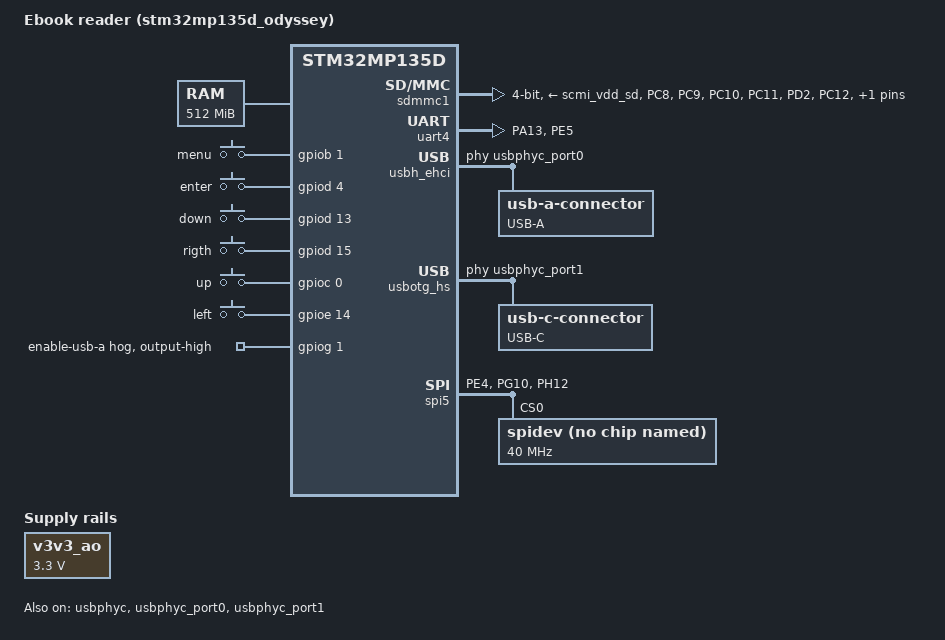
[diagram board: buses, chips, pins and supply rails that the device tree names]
// SPDX-License-Identifier: (GPL-2.0+ OR BSD-3-Clause)
/*
 * Copyright (C) 2026, STMicroelectronics - All Rights Reserved
 * Author: STM32CubeMX code generation for STMicroelectronics.
 */

/* For more information on Device Tree configuration, please refer to
 * https://wiki.st.com/stm32mpu/wiki/Category:Device_tree_configuration
 */

/dts-v1/;

#include <dt-bindings/pinctrl/stm32-pinfunc.h>
#include "stm32mp135.dtsi"
#include "stm32mp13xd.dtsi"

/* USER CODE BEGIN includes */
#include <dt-bindings/gpio/gpio.h>
#include <dt-bindings/input/input.h>
#include <dt-bindings/leds/common.h>
/* USER CODE END includes */

/ {
	model = "Ebook reader (stm32mp135d_odyssey)";
	compatible = "ebk,stm32mp135d-odyssey";

	memory@c0000000 {
		device_type = "memory";
		reg = <0xc0000000 0x20000000>;

		/* USER CODE BEGIN memory */
		/* USER CODE END memory */
	};

	reserved-memory {
		#address-cells = <1>;
		#size-cells = <1>;
		ranges;

		/* USER CODE BEGIN reserved-memory */
		optee@dd000000{
			reg = <0xdd000000 0x3000000>;
			no-map;
		};		
		/* USER CODE END reserved-memory */
	};

	/* USER CODE BEGIN root */
	aliases{
		serial0 = &uart4;
	};

	chosen{
		stdout-path = "serial0:115200n8";
		#address-cells = <1>;
		#size-cells = <1>;
		ranges;
	};

	v3v3_ao:v3v3-ao{
		compatible = "regulator-fixed";
		regulator-name = "v3v3_ao";
		regulator-min-microvolt = <3300000>;
		regulator-max-microvolt = <3300000>;
		regulator-always-on;
	};
	
	gpio_buttons: gpio-buttons-0 {
		compatible = "gpio-keys";
		poll-interval = <300>;		
		
		button_menu: button-menu { // PIN 7
			label = "menu";
			linux,code = <KEY_ESC>;
			gpios = <&gpiob 1 (GPIO_ACTIVE_HIGH | GPIO_PULL_DOWN)>;
		};
		
		button_enter: button-enter { // PIN 11
			label = "enter";
			linux,code = <KEY_ENTER>;
			gpios = <&gpiod 4 (GPIO_ACTIVE_HIGH | GPIO_PULL_DOWN)>;
		};
		
		button_down: button-down { // PIN 13
			label = "down";
			linux,code = <KEY_DOWN>;
			gpios = <&gpiod 13 (GPIO_ACTIVE_HIGH | GPIO_PULL_DOWN)>;
		};

		button_rigth: button-rigth { // PIN 10
			label = "rigth";
			linux,code = <KEY_RIGHT>;
			gpios = <&gpiod 15 (GPIO_ACTIVE_HIGH | GPIO_PULL_DOWN)>;
		};
		
		button_up: button-up {  // PIN 12
			label = "up";
			linux,code = <KEY_UP>;
			gpios = <&gpioc 0 (GPIO_ACTIVE_HIGH | GPIO_PULL_DOWN)>;
		};
		
		button_left: button-left { // PIN 16
			label = "left";
			linux,code = <KEY_LEFT>;
			gpios = <&gpioe 14 (GPIO_ACTIVE_HIGH | GPIO_PULL_DOWN)>;
		};		
	};
	
	/* USER CODE END root */
	
	clocks{
		clk_hsi: clk-hsi {
			clock-frequency = <64000000>;

			/* USER CODE BEGIN clk_hsi */
			/* USER CODE END clk_hsi */
		};
		clk_lse: clk-lse {
			status = "disabled";

			/* USER CODE BEGIN clk_lse */
			/* USER CODE END clk_lse */
		};
		clk_hse: clk-hse {
			clock-frequency = <24000000>;
			st,css;

			/* USER CODE BEGIN clk_hse */
			/* USER CODE END clk_hse */
		};
		clk_i2sin: clk-i2sin {
			status = "disabled";

			/* USER CODE BEGIN clk_i2sin */
			/* USER CODE END clk_i2sin */
		};

		/* USER CODE BEGIN clocks */
		/* USER CODE END clocks */
	};
	
}; /*root*/

&pinctrl {
	sdmmc1_pins_mx: sdmmc1_mx-0 {
		pins1 {
			pinmux = <STM32_PINMUX('C', 8, AF12)>, /* SDMMC1_D0 */
				 <STM32_PINMUX('C', 9, AF12)>, /* SDMMC1_D1 */
				 <STM32_PINMUX('C', 10, AF12)>, /* SDMMC1_D2 */
				 <STM32_PINMUX('C', 11, AF12)>, /* SDMMC1_D3 */
				 <STM32_PINMUX('D', 2, AF12)>; /* SDMMC1_CMD */
			bias-disable;
			drive-push-pull;
			slew-rate = <1>;
		};
		pins2 {
			pinmux = <STM32_PINMUX('C', 12, AF12)>; /* SDMMC1_CK */
			bias-disable;
			drive-push-pull;
			slew-rate = <3>;
		};
	};

	sdmmc1_opendrain_pins_mx: sdmmc1_opendrain_mx-0 {
		pins1 {
			pinmux = <STM32_PINMUX('C', 8, AF12)>, /* SDMMC1_D0 */
				 <STM32_PINMUX('C', 9, AF12)>, /* SDMMC1_D1 */
				 <STM32_PINMUX('C', 10, AF12)>, /* SDMMC1_D2 */
				 <STM32_PINMUX('C', 11, AF12)>; /* SDMMC1_D3 */
			bias-disable;
			drive-push-pull;
			slew-rate = <1>;
		};
		pins2 {
			pinmux = <STM32_PINMUX('C', 12, AF12)>; /* SDMMC1_CK */
			bias-disable;
			drive-push-pull;
			slew-rate = <3>;
		};
		pins3 {
			pinmux = <STM32_PINMUX('D', 2, AF12)>; /* SDMMC1_CMD */
			bias-disable;
			drive-open-drain;
			slew-rate = <1>;
		};
	};

	sdmmc1_sleep_pins_mx: sdmmc1_sleep_mx-0 {
		pins {
			pinmux = <STM32_PINMUX('C', 8, ANALOG)>, /* SDMMC1_D0 */
				 <STM32_PINMUX('C', 9, ANALOG)>, /* SDMMC1_D1 */
				 <STM32_PINMUX('C', 10, ANALOG)>, /* SDMMC1_D2 */
				 <STM32_PINMUX('C', 11, ANALOG)>, /* SDMMC1_D3 */
				 <STM32_PINMUX('C', 12, ANALOG)>, /* SDMMC1_CK */
				 <STM32_PINMUX('D', 2, ANALOG)>; /* SDMMC1_CMD */
		};
	};

	uart4_pins_mx: uart4_mx-0 {
		pins1 {
			pinmux = <STM32_PINMUX('A', 13, AF8)>; /* UART4_TX */
			bias-disable;
			drive-push-pull;
			slew-rate = <0>;
		};
		pins2 {
			pinmux = <STM32_PINMUX('E', 5, AF8)>; /* UART4_RX */
			bias-disable;
		};
	};

	uart4_idle_pins_mx: uart4_idle_mx-0 {
		pins1 {
			pinmux = <STM32_PINMUX('A', 13, AF8)>; /* UART4_TX */
			bias-disable;
			drive-push-pull;
			slew-rate = <0>;
		};
		pins2 {
			pinmux = <STM32_PINMUX('E', 5, AF8)>; /* UART4_RX */
			bias-disable;
		};
	};

	uart4_sleep_pins_mx: uart4_sleep_mx-0 {
		pins {
			pinmux = <STM32_PINMUX('A', 13, ANALOG)>, /* UART4_TX */
				 <STM32_PINMUX('E', 5, ANALOG)>; /* UART4_RX */
		};
	};

	spi5_pins_mx: spi5_mx-0 {
		pins {
			pinmux = <STM32_PINMUX('E', 4, AF1)>, /* SPI5_MISO */
				 <STM32_PINMUX('G', 10, AF5)>, /* SPI5_SCK */
				 /* <STM32_PINMUX('H', 11, AF1)>, /\* SPI5_NSS *\/ */
				 <STM32_PINMUX('H', 12, AF5)>; /* SPI5_MOSI */
			bias-disable;
			drive-push-pull;
			slew-rate = <1>;
		};
	};

	spi5_sleep_pins_mx: spi5_sleep_mx-0 {
		pins {
			pinmux = <STM32_PINMUX('E', 4, ANALOG)>,  /* SPI5_MISO */
				 <STM32_PINMUX('G', 10, ANALOG)>, /* SPI5_SCK */
				 <STM32_PINMUX('H', 12, ANALOG)>; /* SPI5_MOSI */
		};
	};

	
	/* USER CODE BEGIN pinctrl */
	usb_connector_a_pin_mx: usb_connector_a_pin_mx-0 {
		pins {
			pinmux = <STM32_PINMUX('G', 1, GPIO)>; /* USB1_EN */
		};
	};

	spi5_ctrl_pins: spi5-ctrl-pins {
	         pins {
	        	 pinmux = <STM32_PINMUX('A', 7, GPIO)>,  /* SPI5_BSY */
				  <STM32_PINMUX('B', 10, GPIO)>, /* SPI5_RST */
				  <STM32_PINMUX('H', 11, GPIO)>; /* SPI5_CS */
               		 bias-disable;
	     };
	 };
	/* USER CODE END pinctrl */
};

&rcc {
	status = "okay";

	/* USER CODE BEGIN rcc */
	/* USER CODE END rcc */
};

&sdmmc1 {
	pinctrl-names = "default", "opendrain", "sleep";
	pinctrl-0 = <&sdmmc1_pins_mx>;
	pinctrl-1 = <&sdmmc1_opendrain_pins_mx>;
	pinctrl-2 = <&sdmmc1_sleep_pins_mx>;
	status = "okay";

	/* USER CODE BEGIN sdmmc1 */
	cd-gpios = <&gpioh 10 (GPIO_ACTIVE_LOW | GPIO_PULL_UP)>;
	disable-wp;
	st,neg-edge;
	bus-width = <4>;
	vmmc-supply = <&scmi_vdd_sd>;
	/* USER CODE END sdmmc1 */
};

&uart4 {
	pinctrl-names = "default", "idle", "sleep";
	pinctrl-0 = <&uart4_pins_mx>;
	pinctrl-1 = <&uart4_idle_pins_mx>;
	pinctrl-2 = <&uart4_sleep_pins_mx>;
	status = "okay";

	/* USER CODE BEGIN uart4 */
	/delete-property/ dmas;
	/delete-property/ dma-names;	
	/* USER CODE END uart4 */
};

&usbphyc {
	status = "okay";

	/* USER CODE BEGIN usbphyc */
	/* USER CODE END usbphyc */
};

&usbphyc_port0 {
	status = "okay";

	/* USER CODE BEGIN usbphyc_port0 */
	phy-supply = <&scmi_vdd_usb>;	
	/* USER CODE END usbphyc_port0 */
};

&usbphyc_port1 {
	status = "okay";

	/* USER CODE BEGIN usbphyc_port1 */
	phy-supply = <&scmi_vdd_usb>;	
	/* USER CODE END usbphyc_port1 */
};

&usbh_ehci {
	status = "okay";

	/* USER CODE BEGIN usbh_ehci */
	phys = <&usbphyc_port0 0>;
	phy-names = "usb2-phy";
	connector {
		compatible = "usb-a-connector";
		label = "USB-A";
	};	
	/* USER CODE END usbh_ehci */
};

&usbotg_hs {
	status = "okay";

	/* USER CODE BEGIN usbotg_hs */
	phys = <&usbphyc_port1 0>;
	phy-names = "usb2-phy";
	connector {
		compatible = "usb-c-connector";
		label = "USB-C";
		data-role = "device";
		power-role = "sink";
	};
	/* USER CODE END usbotg_hs */
};

&spi5 {
	pinctrl-names = "default", "sleep";
	pinctrl-0 = <&spi5_pins_mx>;
	pinctrl-1 = <&spi5_sleep_pins_mx>;
	status = "okay";

	/* USER CODE BEGIN spi5 */
	cs-gpios = <0>;

	spidev@0 {
           compatible = "rohm,dh2228fv";
           reg = <0>;
           spi-max-frequency = <40000000>; // 40MHz
        };	
	/* USER CODE END spi5 */
};

/* USER CODE BEGIN addons */
&cpu0 {
        clock-frequency = <996000000>;  // in Hz
};

&scmi_regu {
	scmi_vddcpu:regulator@6{
		reg = <VOLTD_SCMI_STPMIC1_BUCK1>;
		regulator-name = "vddcpu";
	};

	scmi_vdd:regulator@8{
		reg = <VOLTD_SCMI_STPMIC1_BUCK3>;
		regulator-name = "vdd";
	};

	scmi_vddcore:regulator@9{
		reg = <VOLTD_SCMI_STPMIC1_BUCK4>;
		regulator-name = "vddcore";
	};

	scmi_vdd_adc:regulator@a{
		reg = <VOLTD_SCMI_STPMIC1_LDO1>;
		regulator-name = "vdd_adc";
	};

	scmi_vdd_usb:regulator@d{
		reg = <VOLTD_SCMI_STPMIC1_LDO4>;
		regulator-name = "vdd_usb";
	};

	scmi_vdd_sd:regulator@e{
		reg = <VOLTD_SCMI_STPMIC1_LDO5>;
		regulator-name = "vdd_sd";
	};

	scmi_v1v8_adc:regulator@f{
		reg = <VOLTD_SCMI_STPMIC1_LDO6>;
		regulator-name = "v1v8_adc";
	};

	scmi_v3v3_sw:regulator@13{
		reg = <VOLTD_SCMI_STPMIC1_PWR_SW2>;
		regulator-name = "v3v3_sw";
	};
};

&gpiog {
    usb_connector_a_pin {
        gpio-hog;
        gpios = <1 GPIO_ACTIVE_HIGH>;
        output-high;
        line-name = "enable-usb-a";
    };
};
/* USER CODE END addons */

